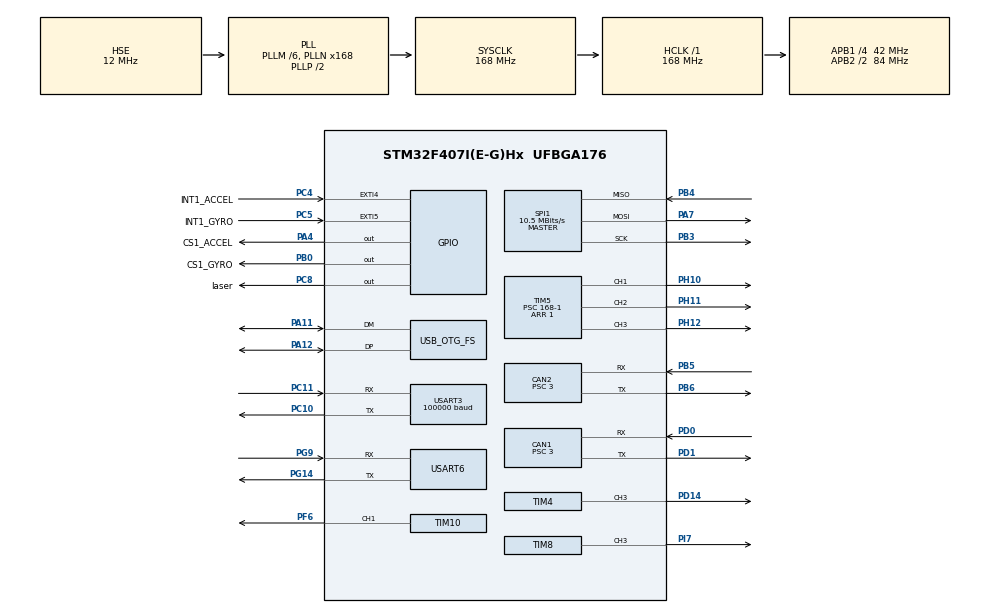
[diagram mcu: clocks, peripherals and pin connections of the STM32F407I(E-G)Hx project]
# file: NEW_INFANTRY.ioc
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CAN1.ABOM=ENABLE
CAN1.AWUM=ENABLE
CAN1.BS1=CAN_BS1_10TQ
CAN1.BS2=CAN_BS2_3TQ
CAN1.CalculateBaudRate=1000000
CAN1.CalculateTimeBit=1000
CAN1.CalculateTimeQuantum=71.42857142857143
CAN1.Prescaler=3
CAN2.ABOM=ENABLE
CAN2.AWUM=ENABLE
CAN2.BS1=CAN_BS1_10TQ
CAN2.BS2=CAN_BS2_3TQ
CAN2.CalculateBaudRate=1000000
CAN2.CalculateTimeBit=1000
CAN2.CalculateTimeQuantum=71.42857142857143
CAN2.Prescaler=3
Dma.Request0=SPI1_RX
Dma.Request1=SPI1_TX
Dma.Request2=USART3_RX
Dma.Request3=USART6_RX
Dma.Request4=USART6_TX
Dma.SPI1_RX.0.Direction=DMA_PERIPH_TO_MEMORY
Dma.SPI1_RX.0.FIFOMode=DMA_FIFOMODE_DISABLE
Dma.SPI1_RX.0.Instance=DMA2_Stream0
Dma.SPI1_RX.0.MemDataAlignment=DMA_MDATAALIGN_BYTE
Dma.SPI1_RX.0.MemInc=DMA_MINC_ENABLE
Dma.SPI1_RX.0.Mode=DMA_NORMAL
Dma.SPI1_RX.0.PeriphDataAlignment=DMA_PDATAALIGN_BYTE
Dma.SPI1_RX.0.PeriphInc=DMA_PINC_DISABLE
Dma.SPI1_RX.0.Priority=DMA_PRIORITY_HIGH
Dma.SPI1_TX.1.Direction=DMA_MEMORY_TO_PERIPH
Dma.SPI1_TX.1.FIFOMode=DMA_FIFOMODE_DISABLE
Dma.SPI1_TX.1.Instance=DMA2_Stream3
Dma.SPI1_TX.1.MemDataAlignment=DMA_MDATAALIGN_BYTE
Dma.SPI1_TX.1.MemInc=DMA_MINC_ENABLE
Dma.SPI1_TX.1.Mode=DMA_NORMAL
Dma.SPI1_TX.1.PeriphDataAlignment=DMA_PDATAALIGN_BYTE
Dma.SPI1_TX.1.PeriphInc=DMA_PINC_DISABLE
Dma.SPI1_TX.1.Priority=DMA_PRIORITY_HIGH
Dma.USART3_RX.2.Direction=DMA_PERIPH_TO_MEMORY
Dma.USART3_RX.2.FIFOMode=DMA_FIFOMODE_DISABLE
Dma.USART3_RX.2.Instance=DMA1_Stream1
Dma.USART3_RX.2.MemDataAlignment=DMA_MDATAALIGN_BYTE
Dma.USART3_RX.2.MemInc=DMA_MINC_ENABLE
Dma.USART3_RX.2.Mode=DMA_CIRCULAR
Dma.USART3_RX.2.PeriphDataAlignment=DMA_PDATAALIGN_BYTE
Dma.USART3_RX.2.PeriphInc=DMA_PINC_DISABLE
Dma.USART3_RX.2.Priority=DMA_PRIORITY_VERY_HIGH
Dma.USART6_RX.3.Direction=DMA_PERIPH_TO_MEMORY
Dma.USART6_RX.3.FIFOMode=DMA_FIFOMODE_DISABLE
Dma.USART6_RX.3.Instance=DMA2_Stream1
Dma.USART6_RX.3.MemDataAlignment=DMA_MDATAALIGN_BYTE
Dma.USART6_RX.3.MemInc=DMA_MINC_ENABLE
Dma.USART6_RX.3.Mode=DMA_CIRCULAR
Dma.USART6_RX.3.PeriphDataAlignment=DMA_PDATAALIGN_BYTE
Dma.USART6_RX.3.PeriphInc=DMA_PINC_DISABLE
Dma.USART6_RX.3.Priority=DMA_PRIORITY_LOW
Dma.USART6_TX.4.Direction=DMA_MEMORY_TO_PERIPH
Dma.USART6_TX.4.FIFOMode=DMA_FIFOMODE_DISABLE
Dma.USART6_TX.4.Instance=DMA2_Stream6
Dma.USART6_TX.4.MemDataAlignment=DMA_MDATAALIGN_BYTE
Dma.USART6_TX.4.MemInc=DMA_MINC_ENABLE
Dma.USART6_TX.4.Mode=DMA_NORMAL
Dma.USART6_TX.4.PeriphDataAlignment=DMA_PDATAALIGN_BYTE
Dma.USART6_TX.4.PeriphInc=DMA_PINC_DISABLE
Dma.USART6_TX.4.Priority=DMA_PRIORITY_LOW
FREERTOS.INCLUDE_vTaskDelayUntil=1
FREERTOS.Tasks01=defaultTask,0,128,StartDefaultTask,Default,NULL,Dynamic,NULL,NULL;gimbal_task,2,1024,GIMBAL_TASK,As external,NULL,Dynamic,NULL,NULL;imu_task,0,512,ECF_IMU_Task,As external,NULL,Dynamic,NULL,NULL;fire_task,0,512,FIRE_TASK,As external,NULL,Dynamic,NULL,NULL;virtual_task,0,512,VIRTUAL_TASK,As external,NULL,Dynamic,NULL,NULL;safe_task,0,512,SAFE_TASK,As external,NULL,Dynamic,NULL,NULL
Mcu.Family=STM32F4
Mcu.Name=STM32F407I(E-G)Hx
Mcu.Package=UFBGA176
NVIC.CAN1_RX0_IRQn=true\:5\:0\:false\:false\:true\:true\:true\:true\:true
NVIC.CAN2_RX0_IRQn=true\:5\:0\:false\:false\:true\:true\:true\:true\:true
NVIC.DMA1_Stream1_IRQn=true\:5\:0\:false\:false\:true\:true\:false\:true\:true
NVIC.DMA2_Stream0_IRQn=true\:5\:0\:false\:false\:true\:true\:false\:true\:true
NVIC.DMA2_Stream1_IRQn=true\:5\:0\:false\:false\:true\:true\:false\:true\:true
NVIC.DMA2_Stream3_IRQn=true\:5\:0\:false\:false\:true\:true\:false\:true\:true
NVIC.DMA2_Stream6_IRQn=true\:5\:0\:false\:false\:true\:true\:false\:true\:true
NVIC.EXTI4_IRQn=true\:5\:0\:true\:false\:true\:false\:true\:true\:true
NVIC.EXTI9_5_IRQn=true\:5\:0\:true\:false\:true\:false\:true\:true\:true
NVIC.OTG_FS_IRQn=true\:5\:0\:false\:false\:true\:true\:false\:true\:true
NVIC.PriorityGroup=NVIC_PRIORITYGROUP_4
NVIC.TIM1_UP_TIM10_IRQn=true\:5\:0\:false\:false\:true\:false\:false\:true\:true
NVIC.TimeBase=TIM1_UP_TIM10_IRQn
NVIC.TimeBaseIP=TIM1
NVIC.USART3_IRQn=true\:5\:0\:false\:false\:true\:true\:true\:true\:true
NVIC.USART6_IRQn=true\:5\:0\:false\:false\:true\:true\:true\:true\:true
PA10.Signal=USB_OTG_FS_ID
PA11.Mode=Device_Only
PA11.Signal=USB_OTG_FS_DM
PA12.Mode=Device_Only
PA12.Signal=USB_OTG_FS_DP
PA13.Mode=Serial_Wire
PA13.Signal=SYS_JTMS-SWDIO
PA14.Mode=Serial_Wire
PA14.Signal=SYS_JTCK-SWCLK
PA4.GPIO_Label=CS1_ACCEL
PA4.GPIO_PuPd=GPIO_PULLUP
PA4.GPIO_Speed=GPIO_SPEED_FREQ_HIGH
PA4.PinState=GPIO_PIN_SET
PA4.Signal=GPIO_Output
PA7.GPIO_PuPd=GPIO_PULLUP
PA7.Mode=Full_Duplex_Master
PA7.Signal=SPI1_MOSI
PB0.GPIO_Label=CS1_GYRO
PB0.GPIO_PuPd=GPIO_PULLUP
PB0.GPIO_Speed=GPIO_SPEED_FREQ_HIGH
PB0.PinState=GPIO_PIN_SET
PB0.Signal=GPIO_Output
PB3.GPIO_PuPd=GPIO_PULLUP
PB3.Mode=Full_Duplex_Master
PB3.Signal=SPI1_SCK
PB4.GPIO_PuPd=GPIO_PULLUP
PB4.Mode=Full_Duplex_Master
PB4.Signal=SPI1_MISO
PB5.Mode=CAN_Activate
PB5.Signal=CAN2_RX
PB6.Mode=CAN_Activate
PB6.Signal=CAN2_TX
PC10.Mode=Asynchronous
PC10.Signal=USART3_TX
PC11.Mode=Asynchronous
PC11.Signal=USART3_RX
PC4.GPIO_Label=INT1_ACCEL
PC4.GPIO_ModeDefaultEXTI=GPIO_MODE_IT_FALLING
PC4.GPIO_PuPd=GPIO_PULLUP
PC4.Signal=GPXTI4
PC5.GPIO_Label=INT1_GYRO
PC5.GPIO_ModeDefaultEXTI=GPIO_MODE_IT_FALLING
PC5.GPIO_PuPd=GPIO_PULLUP
PC5.Signal=GPXTI5
PC8.GPIO_Label=laser
PC8.PinState=GPIO_PIN_SET
PC8.Signal=GPIO_Output
PD0.Mode=CAN_Activate
PD0.Signal=CAN1_RX
PD1.Mode=CAN_Activate
PD1.Signal=CAN1_TX
PD14.Signal=S_TIM4_CH3
PF6.GPIO_PuPd=GPIO_PULLUP
PF6.GPIO_Speed=GPIO_SPEED_FREQ_HIGH
PF6.Signal=S_TIM10_CH1
PG14.Mode=Asynchronous
PG14.Signal=USART6_TX
PG9.Mode=Asynchronous
PG9.Signal=USART6_RX
PH0-OSC_IN.Mode=HSE-External-Oscillator
PH0-OSC_IN.Signal=RCC_OSC_IN
PH1-OSC_OUT.Mode=HSE-External-Oscillator
PH1-OSC_OUT.Signal=RCC_OSC_OUT
PH10.Signal=S_TIM5_CH1
PH11.Signal=S_TIM5_CH2
PH12.Signal=S_TIM5_CH3
PI7.Signal=S_TIM8_CH3
ProjectManager.HeapSize=0x2000
ProjectManager.StackSize=0x2000
ProjectManager.TargetToolchain=MDK-ARM V5.32
RCC.48MHZClocksFreq_Value=48000000
RCC.AHBFreq_Value=168000000
RCC.APB1CLKDivider=RCC_HCLK_DIV4
RCC.APB1Freq_Value=42000000
RCC.APB1TimFreq_Value=84000000
RCC.APB2CLKDivider=RCC_HCLK_DIV2
RCC.APB2Freq_Value=84000000
RCC.APB2TimFreq_Value=168000000
RCC.CortexFreq_Value=168000000
RCC.HCLKFreq_Value=168000000
RCC.HSE_VALUE=12000000
RCC.HSI_VALUE=16000000
RCC.LSE_VALUE=32768
RCC.PLLM=6
RCC.PLLN=168
RCC.PLLQ=7
RCC.SYSCLKFreq_VALUE=168000000
RCC.SYSCLKSource=RCC_SYSCLKSOURCE_PLLCLK
RCC.VCOOutputFreq_Value=336000000
SH.S_TIM10_CH1.0=TIM10_CH1,PWM Generation1 CH1
SH.S_TIM4_CH3.0=TIM4_CH3,PWM Generation3 CH3
SH.S_TIM5_CH1.0=TIM5_CH1,PWM Generation1 CH1
SH.S_TIM5_CH2.0=TIM5_CH2,PWM Generation2 CH2
SH.S_TIM5_CH3.0=TIM5_CH3,PWM Generation3 CH3
SH.S_TIM8_CH3.0=TIM8_CH3,PWM Generation3 CH3
SPI1.BaudRatePrescaler=SPI_BAUDRATEPRESCALER_8
SPI1.CLKPhase=SPI_PHASE_2EDGE
SPI1.CLKPolarity=SPI_POLARITY_HIGH
SPI1.CalculateBaudRate=10.5 MBits/s
SPI1.Direction=SPI_DIRECTION_2LINES
SPI1.Mode=SPI_MODE_MASTER
SPI1.VirtualType=VM_MASTER
STMicroelectronics.X-CUBE-ALGOBUILD.1.3.0.LibraryCcDSPOoLibraryJjDSPOoLibrary=true
TIM10.Channel=TIM_CHANNEL_1
TIM10.Period=1999
TIM10.Prescaler=839
TIM4.Channel-PWM\ Generation3\ CH3=TIM_CHANNEL_3
TIM4.Period=20999
TIM4.Prescaler=0
TIM5.Channel-PWM\ Generation1\ CH1=TIM_CHANNEL_1
TIM5.Channel-PWM\ Generation2\ CH2=TIM_CHANNEL_2
TIM5.Channel-PWM\ Generation3\ CH3=TIM_CHANNEL_3
TIM5.Period=1
TIM5.Prescaler=168-1
TIM8.Channel-PWM\ Generation3\ CH3=TIM_CHANNEL_3
TIM8.Period=20000-1
TIM8.Prescaler=168-1
TIM8.Pulse-PWM\ Generation3\ CH3=1500
USART3.BaudRate=100000
USART3.Parity=PARITY_EVEN
USART3.VirtualMode=VM_ASYNC
USART6.VirtualMode=VM_ASYNC
USB_DEVICE.CLASS_NAME_FS=CDC
USB_DEVICE.VirtualMode-CDC_FS=Cdc
USB_DEVICE.VirtualModeFS=Cdc_FS
USB_OTG_FS.VirtualMode=Device_Only
VP_FREERTOS_VS_CMSIS_V1.Mode=CMSIS_V1
VP_STMicroelectronics.X-CUBE-ALGOBUILD_VS_DSPOoLibraryJjLibrary_1.3.0_1.3.0.Mode=DSPOoLibraryJjLibrary
VP_SYS_VS_tim1.Mode=TIM1
VP_TIM10_VS_ClockSourceINT.Mode=Enable_Timer
VP_TIM4_VS_ClockSourceINT.Mode=Internal
VP_TIM5_VS_ClockSourceINT.Mode=Internal
VP_TIM8_VS_ClockSourceINT.Mode=Internal
VP_USB_DEVICE_VS_USB_DEVICE_CDC_FS.Mode=CDC_FS
board=custom

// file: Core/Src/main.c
/* USER CODE BEGIN Header */
/**
  ******************************************************************************
  * @file           : main.c
  * @brief          : Main program body
  ******************************************************************************
  * @attention
  *
  * Copyright (c) 2022 STMicroelectronics.
  * All rights reserved.
  *
  * This software is licensed under terms that can be found in the LICENSE file
  * in the root directory of this software component.
  * If no LICENSE file comes with this software, it is provided AS-IS.
  *
  ******************************************************************************
  */
/* USER CODE END Header */
#include "main.h"
#include "cmsis_os.h"
#include "can.h"
#include "dma.h"
#include "spi.h"
#include "tim.h"
#include "usart.h"
#include "usb_device.h"
#include "gpio.h"

/* USER CODE BEGIN Includes */
#include "bsp_dr16.h"
#include "bsp_can.h"
#include "bsp_dwt.h"
#include "imu_task.h"
#include "bsp_referee.h"

/* USER CODE END Includes */

void SystemClock_Config(void);
void MX_FREERTOS_Init(void);

/* USER CODE BEGIN 0 */

uint16_t angle = 90;
/* USER CODE END 0 */

int main(void)
{

  /* MCU Configuration--------------------------------------------------------*/

  /* Reset of all peripherals, Initializes the Flash interface and the Systick. */
  HAL_Init();

  /* Configure the system clock */
  SystemClock_Config();

  /* Initialize all configured peripherals */
  MX_GPIO_Init();
  MX_DMA_Init();
  MX_CAN1_Init();
  MX_CAN2_Init();
  MX_SPI1_Init();
  MX_USART3_UART_Init();
  MX_USART6_UART_Init();
  MX_TIM10_Init();
  MX_TIM4_Init();
  MX_TIM8_Init();
  MX_TIM5_Init();
  /* USER CODE BEGIN 2 */
  /* systemview 初始化 */
  HAL_TIM_PWM_Start(&htim8,TIM_CHANNEL_3);
  HAL_TIM_PWM_Start(&htim5,TIM_CHANNEL_1);
  HAL_TIM_PWM_Start(&htim5,TIM_CHANNEL_2);
  HAL_TIM_PWM_Start(&htim5,TIM_CHANNEL_3);

  ECF_RC_Init();
  ECF_CAN_Init();
  DWT_Init(168);
  ECF_referee_uart_init();
  while (BMI088_init(&hspi1, 1) != BMI088_NO_ERROR);
  /* USER CODE END 2 */

  /* Call init function for freertos objects (in freertos.c) */
  MX_FREERTOS_Init();

  /* Start scheduler */
  osKernelStart();

  /* We should never get here as control is now taken by the scheduler */
  /* Infinite loop */
  while (1)
  {

  }
}

void SystemClock_Config(void)
{
  RCC_OscInitTypeDef RCC_OscInitStruct = {0};
  RCC_ClkInitTypeDef RCC_ClkInitStruct = {0};

  /** Configure the main internal regulator output voltage
  */
  __HAL_RCC_PWR_CLK_ENABLE();
  __HAL_PWR_VOLTAGESCALING_CONFIG(PWR_REGULATOR_VOLTAGE_SCALE1);

  /** Initializes the RCC Oscillators according to the specified parameters
  * in the RCC_OscInitTypeDef structure.
  */
  RCC_OscInitStruct.OscillatorType = RCC_OSCILLATORTYPE_HSE;
  RCC_OscInitStruct.HSEState = RCC_HSE_ON;
  RCC_OscInitStruct.PLL.PLLState = RCC_PLL_ON;
  RCC_OscInitStruct.PLL.PLLSource = RCC_PLLSOURCE_HSE;
  RCC_OscInitStruct.PLL.PLLM = 6;
  RCC_OscInitStruct.PLL.PLLN = 168;
  RCC_OscInitStruct.PLL.PLLP = RCC_PLLP_DIV2;
  RCC_OscInitStruct.PLL.PLLQ = 7;
  if (HAL_RCC_OscConfig(&RCC_OscInitStruct) != HAL_OK)
  {
    Error_Handler();
  }

  /** Initializes the CPU, AHB and APB buses clocks
  */
  RCC_ClkInitStruct.ClockType = RCC_CLOCKTYPE_HCLK|RCC_CLOCKTYPE_SYSCLK
                              |RCC_CLOCKTYPE_PCLK1|RCC_CLOCKTYPE_PCLK2;
  RCC_ClkInitStruct.SYSCLKSource = RCC_SYSCLKSOURCE_PLLCLK;
  RCC_ClkInitStruct.AHBCLKDivider = RCC_SYSCLK_DIV1;
  RCC_ClkInitStruct.APB1CLKDivider = RCC_HCLK_DIV4;
  RCC_ClkInitStruct.APB2CLKDivider = RCC_HCLK_DIV2;

  if (HAL_RCC_ClockConfig(&RCC_ClkInitStruct, FLASH_LATENCY_5) != HAL_OK)
  {
    Error_Handler();
  }
}

void HAL_TIM_PeriodElapsedCallback(TIM_HandleTypeDef *htim)
{
  if (htim->Instance == TIM1) {
    HAL_IncTick();
  }
}

void Error_Handler(void)
{
  __disable_irq();
  while (1)
  {
  }
}

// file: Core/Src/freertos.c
/* USER CODE BEGIN Header */
/**
  ******************************************************************************
  * File Name          : freertos.c
  * Description        : Code for freertos applications
  ******************************************************************************
  * @attention
  *
  * Copyright (c) 2022 STMicroelectronics.
  * All rights reserved.
  *
  * This software is licensed under terms that can be found in the LICENSE file
  * in the root directory of this software component.
  * If no LICENSE file comes with this software, it is provided AS-IS.
  *
  ******************************************************************************
  */
/* USER CODE END Header */

#include "FreeRTOS.h"
#include "task.h"
#include "main.h"
#include "cmsis_os.h"

/* USER CODE BEGIN Includes */
#include "imu_task.h"
#include "safe_task.h"
#include "fire_task.h"
#include "gimbal_task.h"
#include "virtual_task.h"
/* USER CODE END Includes */

/* USER CODE BEGIN Variables */
osThreadId music_TaskHandle;
/* USER CODE END Variables */
osThreadId defaultTaskHandle;
osThreadId gimbal_taskHandle;
osThreadId imu_taskHandle;
osThreadId fire_taskHandle;
osThreadId virtual_taskHandle;
osThreadId safe_taskHandle;

/* USER CODE BEGIN FunctionPrototypes */
extern void MUSIC_TASK(void const * argument);
/* USER CODE END FunctionPrototypes */

void StartDefaultTask(void const * argument);
extern void GIMBAL_TASK(void const * argument);
extern void ECF_IMU_Task(void const * argument);
extern void FIRE_TASK(void const * argument);
extern void VIRTUAL_TASK(void const * argument);
extern void SAFE_TASK(void const * argument);

extern void MX_USB_DEVICE_Init(void);
void MX_FREERTOS_Init(void); /* (MISRA C 2004 rule 8.1) */

/* GetIdleTaskMemory prototype (linked to static allocation support) */
void vApplicationGetIdleTaskMemory( StaticTask_t **ppxIdleTaskTCBBuffer, StackType_t **ppxIdleTaskStackBuffer, uint32_t *pulIdleTaskStackSize );

/* USER CODE BEGIN GET_IDLE_TASK_MEMORY */
static StaticTask_t xIdleTaskTCBBuffer;
static StackType_t xIdleStack[configMINIMAL_STACK_SIZE];

void vApplicationGetIdleTaskMemory( StaticTask_t **ppxIdleTaskTCBBuffer, StackType_t **ppxIdleTaskStackBuffer, uint32_t *pulIdleTaskStackSize )
{
  *ppxIdleTaskTCBBuffer = &xIdleTaskTCBBuffer;
  *ppxIdleTaskStackBuffer = &xIdleStack[0];
  *pulIdleTaskStackSize = configMINIMAL_STACK_SIZE;
  /* place for user code */
}
/* USER CODE END GET_IDLE_TASK_MEMORY */

void MX_FREERTOS_Init(void) {

  /* Create the thread(s) */
  /* definition and creation of defaultTask */
  osThreadDef(defaultTask, StartDefaultTask, osPriorityNormal, 0, 128);
  defaultTaskHandle = osThreadCreate(osThread(defaultTask), NULL);

  /* definition and creation of gimbal_task */
  osThreadDef(gimbal_task, GIMBAL_TASK, osPriorityHigh, 0, 1024);
  gimbal_taskHandle = osThreadCreate(osThread(gimbal_task), NULL);

  /* definition and creation of imu_task */
  osThreadDef(imu_task, ECF_IMU_Task, osPriorityNormal, 0, 512);
  imu_taskHandle = osThreadCreate(osThread(imu_task), NULL);

  /* definition and creation of fire_task */
  osThreadDef(fire_task, FIRE_TASK, osPriorityNormal, 0, 512);
  fire_taskHandle = osThreadCreate(osThread(fire_task), NULL);

  /* definition and creation of virtual_task */
  osThreadDef(virtual_task, VIRTUAL_TASK, osPriorityNormal, 0, 512);
  virtual_taskHandle = osThreadCreate(osThread(virtual_task), NULL);

  /* definition and creation of safe_task */
  osThreadDef(safe_task, SAFE_TASK, osPriorityNormal, 0, 512);
  safe_taskHandle = osThreadCreate(osThread(safe_task), NULL);

  /* USER CODE BEGIN RTOS_THREADS */
  osThreadDef(music_task, MUSIC_TASK, osPriorityNormal, 0, 128);
  music_TaskHandle = osThreadCreate(osThread(music_task), NULL);
  /* add threads, ... */
  /* USER CODE END RTOS_THREADS */

}

void StartDefaultTask(void const * argument)
{
  /* init code for USB_DEVICE */
  MX_USB_DEVICE_Init();
  for(;;)
  {
    osDelay(1);
  }
}
